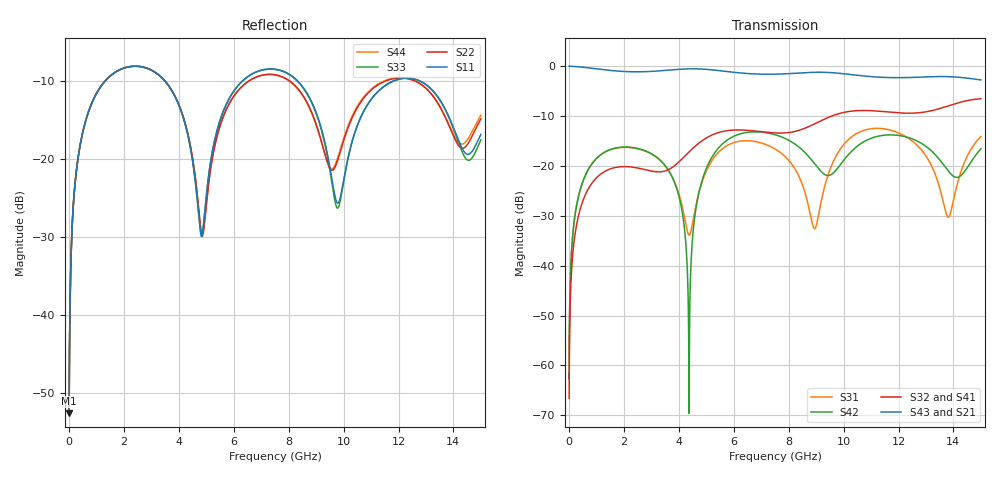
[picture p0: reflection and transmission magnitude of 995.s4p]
! Created with skrf 1.8.0 (http://scikit-rf.org).
# GHz S RI R 50.0
!freq ReS11 ImS11 ReS12 ImS12 ReS13 ImS13
! ReS14 ImS14
! ReS21 ImS21 ReS22 ImS22 ReS23 ImS23
! ReS24 ImS24
! ReS31 ImS31 ReS32 ImS32 ReS33 ImS33
! ReS34 ImS34
! ReS41 ImS41 ReS42 ImS42 ReS43 ImS43
! ReS44 ImS44
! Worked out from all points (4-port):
!   2499 points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, 5 MHz to 15 GHz, reference 50 ohm
!   strongest paths, dB at 5 MHz, 3.476 GHz, 7.19 GHz, 11.1 GHz, 15 GHz:
!     S43: 0.0, -0.9, -1.6, -2.2, -2.8
!     S21: 0.0, -0.9, -1.6, -2.1, -2.8
!     S32: -66.6, -21.1, -13.3, -9.0, -6.5
!     S41: -66.6, -21.1, -13.3, -9.0, -6.6
!     S42: -62.6, -19.8, -13.4, -14.3, -16.6
!     S31: -62.6, -19.8, -15.8, -12.5, -14.1
!   lowest |S11| = -52.7 dB at 5 MHz (marker M1), VSWR 1.00, Z = 50.2 + j0.141 ohm
!   |S11| at or under -10 dB: 3.496 GHz to 6.312 GHz (2.816 GHz wide, 57.4 % of centre); 8.332 GHz to 11.81 GHz (3.477 GHz wide, 34.5 % of centre); 12.79 GHz to end of sweep (the widest 3 of 4)
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0.005  0.00185 0.00141  0.9981 -0.00361  9.36e-05 0.000732  -9.09e-05 -0.00046
       0.9981 -0.00361  0.00185 0.00141  -9.09e-05 -0.00046  9.37e-05 0.000732
       9.36e-05 0.000732  -9.09e-05 -0.00046  0.00185 0.00141  0.9981 -0.0036
       -9.09e-05 -0.00046  9.37e-05 0.000732  0.9981 -0.0036  0.00185 0.00141
0.3626511  0.0372 0.1039  0.9485 -0.2562  0.0177 0.0485  -0.0148 -0.0295
           0.9485 -0.2562  0.0372 0.1039  -0.0148 -0.0295  0.018 0.0484
           0.0177 0.0485  -0.0148 -0.0295  0.0372 0.1039  0.9485 -0.2562
           -0.0148 -0.0295  0.018 0.0484  0.9485 -0.2562  0.0372 0.1039
1.77574  0.3465 0.1255  0.351 -0.8191  0.1482 0.0313  -0.0936 0.0261
         0.351 -0.8191  0.3456 0.1267  -0.0937 0.0262  0.1499 0.0275
         0.1482 0.0313  -0.0937 0.0262  0.3463 0.1256  0.351 -0.8191
         -0.0936 0.0261  0.1499 0.0275  0.351 -0.8191  0.3456 0.1266
4.370571  0.0649 -0.1147  -0.8676 -0.3565  -0.0192 -0.00631  -0.0488 0.1289
          -0.8676 -0.3565  0.0674 -0.1167  -0.0479 0.1292  -0.000161 -0.000289
          -0.0192 -0.00631  -0.0479 0.1292  0.0654 -0.1142  -0.8676 -0.3566
          -0.0488 0.1289  -0.000161 -0.000289  -0.8676 -0.3566  0.0667 -0.1167
5.583576  0.1307 0.1446  -0.81 0.3764  0.0823 0.1231  0.1223 0.1837
          -0.81 0.3764  0.1195 0.1347  0.1234 0.1829  0.1335 0.0979
          0.0823 0.1231  0.1234 0.1829  0.1314 0.1438  -0.8102 0.3761
          0.1223 0.1837  0.1335 0.0979  -0.8102 0.3761  0.1186 0.1352
9.772822  0.0512 -0.01  0.8458 0.0887  0.0593 0.118  0.0263 -0.3287
          0.8458 0.0887  0.0904 0.0338  0.023 -0.3295  -0.0414 0.0844
          0.0593 0.118  0.023 -0.3295  0.0477 -0.00758  0.8458 0.0886
          0.0263 -0.3287  -0.0414 0.0844  0.8458 0.0886  0.0927 0.0378
15  0.1352 0.0491  -0.726 0.0246  0.0964 0.1714  0.0483 0.4657
    -0.726 0.0246  0.1666 0.0704  0.0549 0.4677  0.052 0.1393
    0.0964 0.1714  0.0549 0.4677  0.1232 0.049  -0.726 0.0213
    0.0483 0.4657  0.052 0.1393  -0.726 0.0213  0.1774 0.0711
